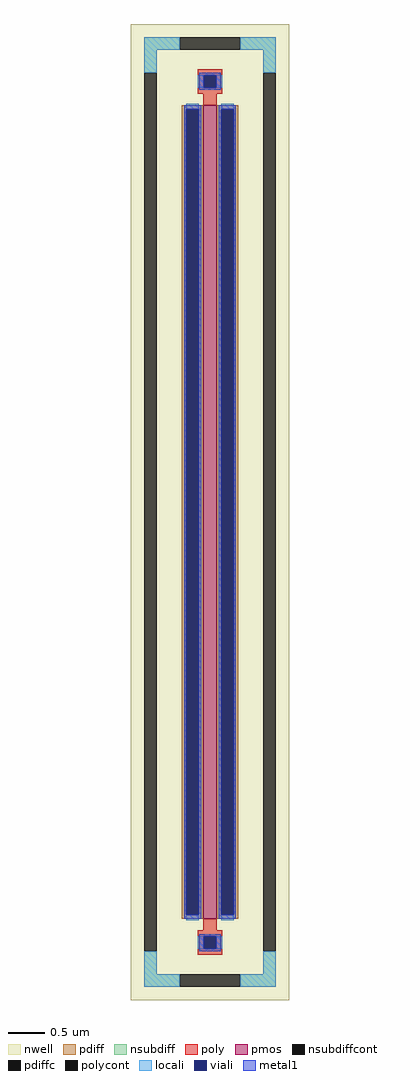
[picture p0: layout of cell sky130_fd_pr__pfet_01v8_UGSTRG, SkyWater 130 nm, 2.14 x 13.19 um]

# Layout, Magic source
magic
tech sky130A
magscale 1 2
<< nwell >>
rect -214 -1319 214 1319
<< pmos >>
rect -18 -1100 18 1100
<< pdiff >>
rect -76 1088 -18 1100
rect -76 -1088 -64 1088
rect -30 -1088 -18 1088
rect -76 -1100 -18 -1088
rect 18 1088 76 1100
rect 18 -1088 30 1088
rect 64 -1088 76 1088
rect 18 -1100 76 -1088
<< pdiffc >>
rect -64 -1088 -30 1088
rect 30 -1088 64 1088
<< nsubdiff >>
rect -178 1249 -82 1283
rect 82 1249 178 1283
rect -178 1187 -144 1249
rect 144 1187 178 1249
rect -178 -1249 -144 -1187
rect 144 -1249 178 -1187
rect -178 -1283 -82 -1249
rect 82 -1283 178 -1249
<< nsubdiffcont >>
rect -82 1249 82 1283
rect -178 -1187 -144 1187
rect 144 -1187 178 1187
rect -82 -1283 82 -1249
<< poly >>
rect -33 1181 33 1197
rect -33 1147 -17 1181
rect 17 1147 33 1181
rect -33 1131 33 1147
rect -18 1100 18 1131
rect -18 -1131 18 -1100
rect -33 -1147 33 -1131
rect -33 -1181 -17 -1147
rect 17 -1181 33 -1147
rect -33 -1197 33 -1181
<< polycont >>
rect -17 1147 17 1181
rect -17 -1181 17 -1147
<< locali >>
rect -178 1249 -82 1283
rect 82 1249 178 1283
rect -178 1187 -144 1249
rect 144 1187 178 1249
rect -33 1147 -17 1181
rect 17 1147 33 1181
rect -64 1088 -30 1104
rect -64 -1104 -30 -1088
rect 30 1088 64 1104
rect 30 -1104 64 -1088
rect -33 -1181 -17 -1147
rect 17 -1181 33 -1147
rect -178 -1249 -144 -1187
rect 144 -1249 178 -1187
rect -178 -1283 -82 -1249
rect 82 -1283 178 -1249
<< viali >>
rect -17 1147 17 1181
rect -64 -1088 -30 1088
rect 30 -1088 64 1088
rect -17 -1181 17 -1147
<< metal1 >>
rect -29 1181 29 1187
rect -29 1147 -17 1181
rect 17 1147 29 1181
rect -29 1141 29 1147
rect -70 1088 -24 1100
rect -70 -1088 -64 1088
rect -30 -1088 -24 1088
rect -70 -1100 -24 -1088
rect 24 1088 70 1100
rect 24 -1088 30 1088
rect 64 -1088 70 1088
rect 24 -1100 70 -1088
rect -29 -1147 29 -1141
rect -29 -1181 -17 -1147
rect 17 -1181 29 -1147
rect -29 -1187 29 -1181
<< properties >>
string FIXED_BBOX -161 -1266 161 1266
string gencell sky130_fd_pr__pfet_01v8
string library sky130
string parameters w 11.0 l 0.18 m 1 nf 1 diffcov 100 polycov 100 guard 1 glc 1 grc 1 gtc 1 gbc 1 tbcov 100 rlcov 100 topc 1 botc 1 poverlap 0 doverlap 1 lmin 0.15 wmin 0.42 compatible {sky130_fd_pr__pfet_01v8  sky130_fd_pr__pfet_01v8_lvt sky130_fd_pr__pfet_01v8_hvt  sky130_fd_pr__pfet_g5v0d10v5} full_metal 1 viasrc 100 viadrn 100 viagate 100 viagb 0 viagr 0 viagl 0 viagt 0
<< end >>
